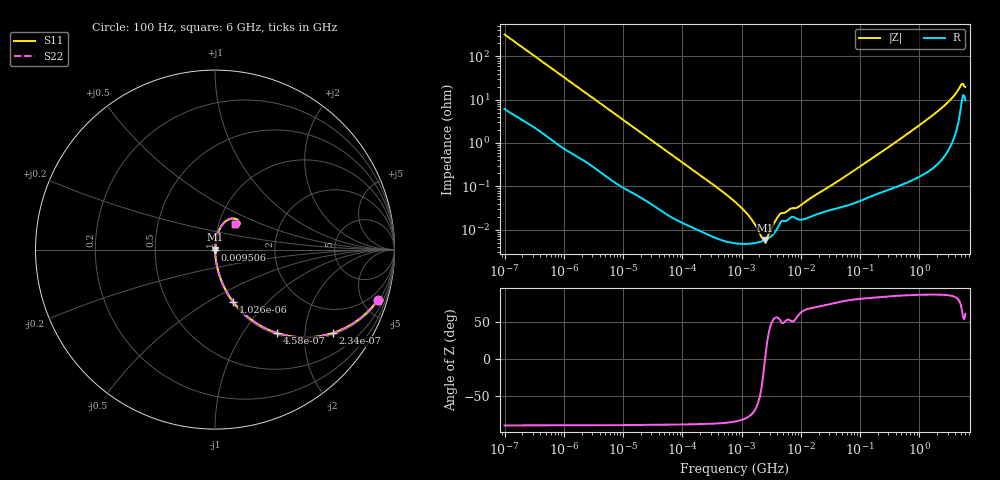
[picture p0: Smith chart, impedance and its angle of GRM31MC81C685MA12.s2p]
!Murata Part Number: GRM31MC81C685MA12
!These Parameters are Measured in Series Mode Connection
!Data Generated on Mar 30, 2021
!  o--ll--o
!Port1  Port2
!  o------o
!Operation Temp=25[degC], DC Bias Voltage=0[V]
!Freq. Start=100[Hz] Stop=6[GHz] 401[Steps]
# Hz S RI R 50
!Freq.(Hz) S11(Real) S11(Imag) S21(Real) S21(Imag) S12(Real) S12(Imag) S22(Real) S22(Imag)
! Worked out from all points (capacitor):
!   401 points, 100 Hz to 6 GHz, reference 50 ohm
!   read as one part in series: C = 4.91 uF near 109 Hz
!   lowest |Z| = 5.72 mohm at 2.481 MHz (marker M1)
!   series resonance near 2.489 MHz, so ESL is about 830 pH
!   S11 on the Smith chart (normalised r, x): 100 Hz: 1.12, -6.45; 234 Hz: 1.06, -2.78; 458 Hz: 1.03, -1.44; 1.026 kHz: 1.01, -0.65; 9.506 MHz: 1.00, +0.00; 6 GHz: 1.19, +0.35
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100  0.908 -0.2797  0.092 0.2797  0.092 0.2797  0.908 -0.2797
150  0.8195 -0.3748  0.1805 0.3748  0.1805 0.3748  0.8195 -0.3748
234  0.6566 -0.4643  0.3434 0.4643  0.3434 0.4643  0.6566 -0.4643
458  0.344 -0.4641  0.656 0.4641  0.656 0.4641  0.344 -0.4641
1026  0.1005 -0.2897  0.8995 0.2897  0.8995 0.2897  0.1005 -0.2897
2008  0.0311 -0.1615  0.9689 0.1615  0.9689 0.1615  0.0311 -0.1615
6433  0.00418 -0.053  0.9958 0.053  0.9958 0.053  0.00418 -0.053
40335  0.00037 -0.00877  0.9996 0.00877  0.9996 0.00877  0.00037 -0.00877
774597  4.84e-05 -0.000436  1 0.000436  1 0.000436  4.84e-05 -0.000436
1212075  4.68e-05 -0.000236  1 0.000236  1 0.000236  4.68e-05 -0.000236
1896632  5.05e-05 -8.38e-05  0.9999 8.38e-05  0.9999 8.38e-05  5.05e-05 -8.38e-05
2481164  5.72e-05 -1e-06  0.9999 1e-06  0.9999 1e-06  5.72e-05 -1e-06
3103719  6.88e-05 6.97e-05  0.9999 -6.97e-05  0.9999 -6.97e-05  6.88e-05 6.97e-05
4060267  0.000109 0.00016  0.9999 -0.00016  0.9999 -0.00016  0.000109 0.00016
4643984  0.000152 0.000183  0.9998 -0.000183  0.9998 -0.000183  0.000152 0.000183
9506416  0.00017 0.000304  0.9998 -0.000304  0.9998 -0.000304  0.00017 0.000304
1.555665e7  0.000205 0.000524  0.9998 -0.000524  0.9998 -0.000524  0.000205 0.000524
3.124326e8  0.00091 0.00824  0.9991 -0.00824  0.9991 -0.00824  0.00091 0.00824
2.142435e9  0.00668 0.0565  0.9933 -0.0565  0.9933 -0.0565  0.00668 0.0565
3.8344e9  0.0268 0.1172  0.9732 -0.1172  0.9732 -0.1172  0.0268 0.1172
5.016141e9  0.0934 0.1741  0.9066 -0.1741  0.9066 -0.1741  0.0934 0.1741
6e9  0.1103 0.1401  0.8897 -0.1401  0.8897 -0.1401  0.1103 0.1401
